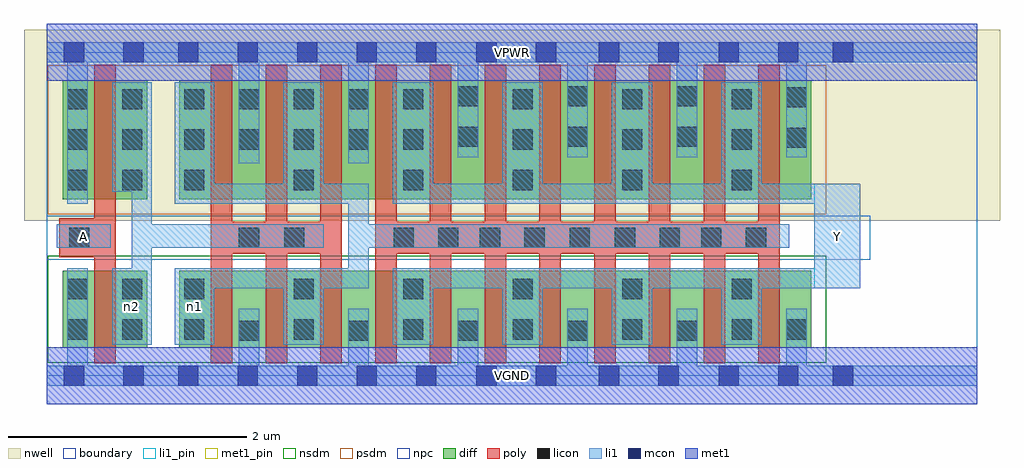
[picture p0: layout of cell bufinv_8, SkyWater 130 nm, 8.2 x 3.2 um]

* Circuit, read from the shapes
.subckt bufinv_8 A VGND VPWR Y n1 n2
XM1 n2 A VGND VSUBS sky130_fd_pr__nfet_01v8 w=0.65 l=0.18
XM2 VGND n2 n1 VSUBS sky130_fd_pr__nfet_01v8 w=0.65 l=0.18 m=3
XM3 Y n1 VGND VSUBS sky130_fd_pr__nfet_01v8 w=0.65 l=0.18 m=8
XM4 n2 A VPWR n3 sky130_fd_pr__pfet_01v8 w=1 l=0.18
XM5 VPWR n2 n1 n3 sky130_fd_pr__pfet_01v8 w=1 l=0.18 m=3
XM6 Y n1 VPWR n3 sky130_fd_pr__pfet_01v8 w=1 l=0.18 m=8
.ends

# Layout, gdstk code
import gdstk
lib = gdstk.Library(unit=1e-6, precision=1e-09)
def R(c, l, rs):  # rectangles x0, y0, x1, y1
    for r in rs: c.add(gdstk.rectangle(r[:2], r[2:], *l))
def A(c, l, x, y, w, h, nx, ny, dx, dy):  # array of equal rectangles
    R(c, l, [(x+i*dx, y+j*dy, x+i*dx+w, y+j*dy+h) for i in range(nx) for j in range(ny)])
nwell = (64, 20)
diff = (65, 20)
poly = (66, 20)
licon = (66, 44)
li1_pin = (67, 16)
li1 = (67, 20)
mcon = (67, 44)
met1_pin = (68, 16)
met1 = (68, 20)
nsdm = (93, 44)
psdm = (94, 20)
npc = (95, 20)
boundary = (235, 4)

bufinv_8 = lib.new_cell('bufinv_8')
R(bufinv_8, nwell, [(-0.19,1.305,8.01,2.91), (0,1.305,7.82,2.91)])
R(bufinv_8, diff, [(0.135,0.235,0.845,0.885), (1.115,0.235,6.425,0.885), (0.135,1.485,0.845,2.485), (1.115,1.485,6.425,2.485)])
A(bufinv_8, poly, 1.38, 0.105, 0.18, 2.51, 11, 1, 0.46, 0)
R(bufinv_8, poly, [(0.4,0.105,0.58,2.615), (0.105,0.995,0.58,1.325), (1.38,1.025,2.48,1.295), (2.76,1.025,6.16,1.295)])
A(bufinv_8, licon, 1.615, 0.295, 0.17, 0.17, 5, 1, 0.92, 0)
A(bufinv_8, licon, 1.155, 0.305, 0.17, 0.17, 6, 2, 0.92, 0.34)
A(bufinv_8, licon, 4.015, 1.075, 0.17, 0.17, 3, 1, 0.38, 0)
A(bufinv_8, licon, 0.175, 1.56, 0.17, 0.17, 1, 3, 0, 0.34)
A(bufinv_8, licon, 0.635, 1.56, 0.17, 0.17, 1, 3, 0, 0.34)
A(bufinv_8, licon, 1.155, 1.56, 0.17, 0.17, 6, 1, 0.92, 0)
A(bufinv_8, licon, 1.155, 1.9, 0.17, 0.17, 5, 2, 0.46, 0.34)
A(bufinv_8, licon, 3.915, 1.9, 0.17, 0.17, 3, 2, 0.92, 0.34)
A(bufinv_8, licon, 3.455, 1.925, 0.17, 0.17, 3, 2, 0.92, 0.34)
R(bufinv_8, licon, [(0.175,0.305,0.345,0.475), (0.635,0.305,0.805,0.475), (6.215,0.305,6.385,0.475), (0.175,0.645,0.345,0.815), (0.635,0.645,0.805,0.815), (0.19,1.075,0.36,1.245), (1.615,1.075,1.785,1.245), (1.995,1.075,2.165,1.245), (2.915,1.075,3.085,1.245), (3.29,1.075,3.46,1.245), (3.64,1.075,3.81,1.245), (5.15,1.075,5.32,1.245), (5.5,1.075,5.67,1.245), (5.875,1.075,6.045,1.245), (6.215,1.915,6.385,2.085), (6.215,2.255,6.385,2.425)])
R(bufinv_8, li1_pin, [(6.45,0.735,6.835,1.615), (0.085,1.075,0.54,1.275)])
A(bufinv_8, li1, 1.615, -0.085, 0.17, 0.65, 6, 1, 0.92, 0)
A(bufinv_8, li1, 1.99, 0.26, 0.34, 0.645, 5, 1, 0.92, 0)
A(bufinv_8, li1, 1.99, 1.445, 0.34, 1.02, 5, 1, 0.92, 0)
A(bufinv_8, li1, 3.455, 1.835, 0.17, 0.97, 4, 1, 0.92, 0)
R(bufinv_8, li1, [(0,-0.085,7.82,0.085), (0.175,-0.085,0.345,0.905), (0.55,0.26,0.885,0.905), (0.715,0.26,0.885,2.465), (1.075,0.26,1.41,0.905), (1.075,0.735,2.705,0.905), (2.535,0.735,2.705,1.615), (2.91,0.735,6.835,0.905), (6.45,0.735,6.835,1.615), (0.085,1.075,0.54,1.275), (0.715,1.075,2.33,1.275), (2.535,1.075,6.24,1.275), (0.175,1.445,0.345,2.805), (1.075,1.445,2.705,1.615), (1.075,1.445,1.41,2.465), (2.91,1.445,6.835,1.615), (0.55,1.545,0.885,2.465), (1.615,1.785,1.785,2.805), (2.535,1.785,2.705,2.805), (0,2.635,7.82,2.805)])
A(bufinv_8, mcon, 1.105, -0.085, 0.17, 0.17, 5, 2, 0.5, 2.72)
R(bufinv_8, mcon, [(0.145,-0.085,0.315,0.085), (0.645,-0.085,0.815,0.085), (3.61,-0.085,3.78,0.085), (4.11,-0.085,4.28,0.085), (4.64,-0.085,4.81,0.085), (5.14,-0.085,5.31,0.085), (5.645,-0.085,5.815,0.085), (6.145,-0.085,6.315,0.085), (6.605,-0.085,6.775,0.085), (0.145,2.635,0.315,2.805), (0.645,2.635,0.815,2.805), (3.61,2.635,3.78,2.805), (4.11,2.635,4.28,2.805), (4.64,2.635,4.81,2.805), (5.14,2.635,5.31,2.805), (5.645,2.635,5.815,2.805), (6.145,2.635,6.315,2.805), (6.605,2.635,6.775,2.805)])
R(bufinv_8, met1_pin, [(0,-0.24,7.82,0.24), (0,2.48,7.82,2.96)])
R(bufinv_8, met1, [(0,-0.24,7.82,0.24), (0,2.48,7.82,2.96)])
R(bufinv_8, nsdm, [(0.01,0.11,6.55,1.01)])
R(bufinv_8, psdm, [(0.01,1.36,6.55,2.61)])
R(bufinv_8, npc, [(0,0.975,6.92,1.345)])
R(bufinv_8, boundary, [(0,0,7.82,2.72)])
bufinv_8.add(gdstk.Label('A', (0.312,1.175), layer=67, texttype=5))
bufinv_8.add(gdstk.Label('Y', (6.642,1.175), layer=67, texttype=5))
bufinv_8.add(gdstk.Label('n2', (0.717,0.582), layer=67, texttype=5))
bufinv_8.add(gdstk.Label('n1', (1.242,0.582), layer=67, texttype=5))
bufinv_8.add(gdstk.Label('VPWR', (3.91,2.72), layer=68, texttype=5))
bufinv_8.add(gdstk.Label('VGND', (3.91,0), layer=68, texttype=5))
bufinv_8.add(gdstk.Label('A', (0.312,1.175), layer=67, texttype=16))
bufinv_8.add(gdstk.Label('Y', (6.642,1.175), layer=67, texttype=16))
bufinv_8.add(gdstk.Label('VPWR', (3.91,2.72), layer=68, texttype=16))
bufinv_8.add(gdstk.Label('VGND', (3.91,0), layer=68, texttype=16))

lib.write_gds('bufinv_8.gds')
